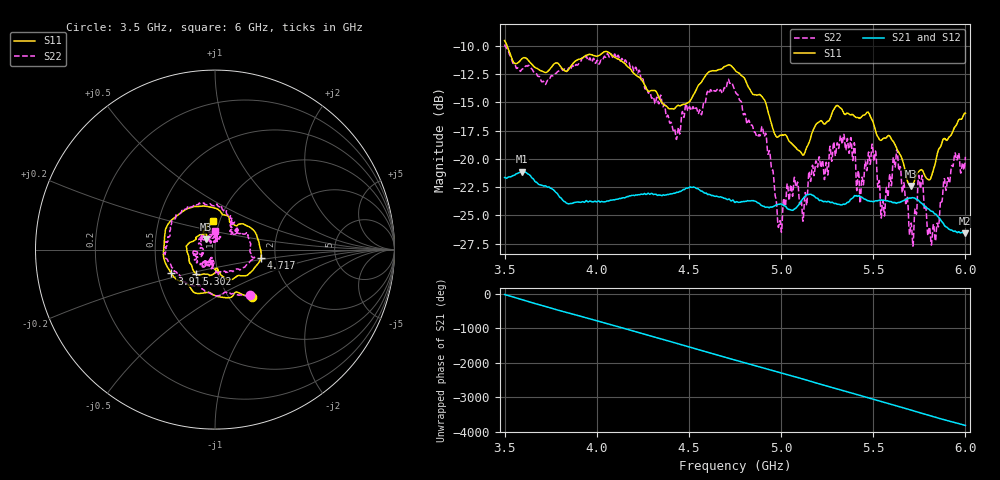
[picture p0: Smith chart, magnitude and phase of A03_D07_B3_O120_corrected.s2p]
! Created with skrf 1.9.0 (http://scikit-rf.org).
# Hz S RI R 50.0
!freq ReS11 ImS11 ReS21 ImS21 ReS12 ImS12 ReS22 ImS22
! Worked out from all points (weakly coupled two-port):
!   1601 points, 3.5 GHz to 6 GHz, reference 50 ohm
!   highest |S21| = -21.12 dB at 3.592 GHz (marker M1); lowest = -26.6 dB at 5.995 GHz (marker M2)
!   lowest |S11| = -22.4 dB at 5.706 GHz (marker M3), VSWR 1.16, Z = 45 + j5.18 ohm
!   |S11| at or under -10 dB: 3.514 GHz to end of sweep
!   |S22| runs from -27.7 to -9.9 dB; largest |S21 - S12| = 0.0011
!   S11 on the Smith chart (normalised r, x): 3.5 GHz: 1.28, -0.75; 3.911 GHz: 0.59, -0.17; 4.717 GHz: 1.68, -0.16; 5.302 GHz: 0.78, -0.22; 6 GHz: 0.93, +0.30
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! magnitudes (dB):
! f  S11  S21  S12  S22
! 3.5 GHz  -9.5  -21.6  -21.6  -9.9
! 3.592 GHz  -11.2  -21.1  -21.1  -12.1
! 3.911 GHz  -11.2  -23.8  -23.8  -11.4
! 3.917 GHz  -11.1  -23.8  -23.8  -11.2
! 4.334 GHz  -14.5  -23.2  -23.2  -15.1
! 4.439 GHz  -15.3  -23.0  -22.9  -17.5
! 4.717 GHz  -11.7  -23.5  -23.6  -13.1
! 4.75 GHz  -12.2  -23.9  -23.8  -14.0
! 4.909 GHz  -14.8  -24.2  -24.2  -18.0
! 4.992 GHz  -17.9  -24.0  -24.0  -25.5
! 5.167 GHz  -17.7  -23.2  -23.2  -20.9
! 5.302 GHz  -15.3  -24.0  -24.0  -18.8
! 5.436 GHz  -16.3  -23.4  -23.4  -22.0
! 5.503 GHz  -17.0  -23.8  -23.7  -20.2
! 5.552 GHz  -18.2  -23.7  -23.6  -23.8
! 5.584 GHz  -17.9  -23.7  -23.7  -22.4
! 5.636 GHz  -19.3  -23.9  -23.8  -20.5
! 5.706 GHz  -22.4  -23.5  -23.4  -25.7
! 5.755 GHz  -21.0  -23.8  -23.8  -22.5
! 5.827 GHz  -21.0  -24.7  -24.7  -25.7
! 5.995 GHz  -16.0  -26.6  -26.5  -20.8
! 6 GHz  -16.0  -26.6  -26.5  -19.8
